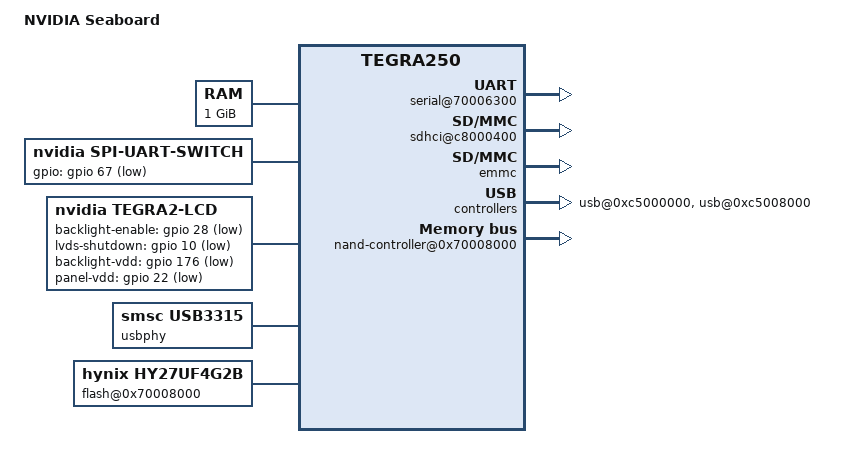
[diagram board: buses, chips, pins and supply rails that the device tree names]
/dts-v1/;

/memreserve/ 0x1c000000 0x04000000;
/include/ "tegra250.dtsi"
/include/ "chromeos.dtsi"
/include/ "flashmap-twostop-2mb.dtsi"

/ {
	model = "NVIDIA Seaboard";
	compatible = "nvidia,seaboard", "nvidia,tegra250";

	config {
		odmdata = <0x300d8011>;
		hwid = "ARM SEABOARD TEST 1176";
		machine-arch-id = <3005>;

		/* Chrome OS specific GPIO */
		/*
		 * Parameter 3 bits
		 * bit 0: 1=output, 0=input
		 * bit 1: 1=high, 0=low
		 * bit 2: 1=active low, 0=active high
		 */
		write-protect-switch	= <&gpio 59 0>;
		recovery-switch		= <&gpio 56 4>;
		developer-switch	= <&gpio 168 0>;
		/* Seaboard's lid-switch is ignored */
		power-switch		= <&gpio 170 4>;
	};

	aliases {
		console = "/serial@70006300";
                usb0 = "/usb@0xc5008000";
                usb1 = "/usb@0xc5000000";

		sdmmc0 = "/sdhci@c8000600";
		sdmmc1 = "/sdhci@c8000400";

		i2c0 = "/i2c@0x7000d000";
		i2c1 = "/i2c@0x7000c000";
		i2c2 = "/i2c@0x7000c400";
		i2c3 = "/i2c@0x7000c500";
	};

	memory {
		device_type = "memory";
		reg = <0x00000000 0x40000000>;
	};

	serial@70006300 {
		status = "ok";
		clock-frequency = <216000000>;
	};

	/*
	 * Seaboard has a switch on GPIO67 which affects this UART. Until
	 * pinmux support is added to the FDT it is not clear how to do this,
	 * so this is a stop-gap.
	 */
	switch {
		compatible = "nvidia,spi-uart-switch";
		uart = <&uart3>;

		/* Parameter 3 bit 0:1=output, 0=input; bit 1:1=high, 0=low */
		gpios = <&gpio 67 1>; /* Port I = 8 bit = 3: 8 * 8 + 3 */
	};

	sdhci@c8000400 {
		status = "ok";
		width = <4>;	/* width of SDIO port */
		removable = <1>;
		/* Parameter 3 bit 0:1=output, 0=input; bit 1:1=high, 0=low */
		cd-gpio = <&gpio 69 0>; /* card detect, gpio PI5 */
		wp-gpio = <&gpio 57 0>; /* write protect, gpio PH1 */
		power-gpio = <&gpio 70 3>; /* power enable, gpio PI6 */
	};

	emmc: sdhci@c8000600 {
		status = "ok";
		width = <4>;	/* width of SDIO port */
		removable = <0>;
	};

	lcd {
		compatible = "nvidia,tegra2-lcd";
		width = <1366>;
		height = <768>;
		bits_per_pixel = <16>;
		pwfm = <&pwfm2>;
		display = <&display1>;
                /* frame-buffer location = top of memory - carveout - fb */
                frame-buffer = <0x2f680000>;

		pixel_clock = <70600000>;

		/* Timing: ref_to_sync, sync_width. back_porch, front_porch */
		horiz_timing = <11 58 58 58>;
		vert_timing = <1 4 4 4>;

		/* Parameter 3 bit 0:1=output, 0=input; bit 1:1=high, 0=low */
		backlight-enable = <&gpio 28 1>;	/* PD4 */
		lvds-shutdown = <&gpio 10 1>;		/* PB2 */
		backlight-vdd = <&gpio 176 1>;		/* PW0 */
		panel-vdd = <&gpio 22 1>;		/* PC6 */

		/*
		 * Panel required timings
		 * Timing 1: delay between panel_vdd-rise and data-rise
		 * Timing 2: delay between data-rise and backlight_vdd-rise
		 * Timing 3: delay between backlight_vdd and pwm-rise
		 * Timing 4: delay between pwm-rise and backlight_en-rise
		 */
		panel-timings = <4 203 17 15>;
	};

	usb@0xc5000000 {
		status = "ok";
		host-mode = <1>;
	};

	usbphy: usbphy@0 {
		compatible = "smsc,usb3315";
		status = "ok";
	};

	usb@0xc5008000 {
		status = "ok";
		utmi = <&usbphy>;
		host-mode = <0>;
	};

	flash@0x70008000 {
		compatible = "hynix,HY27UF4G2B", "nand-flash";
		controller = <&nand>;

		/* How many bytes for data area */
		page-data-bytes = <2048>;

		/* How many ECC bytes to be generated for tag bytes */
		tag-ecc-bytes = <4>;

		/* How many tag bytes in spare area */
		tag-bytes = <20>;

		/* How many ECC bytes for data area */
		data-ecc-bytes = <36>;

		skipped-spare-bytes = <4>;

		/*
		 * How many bytes in spare area
		 * spare area = skipped bytes + ECC bytes of data area
		 * + tag bytes + ECC bytes of tag bytes
		 */
		page-spare-bytes = <64>;

		/*
		 * MAX_TRP_TREA:
		 * non-EDO mode: value (in ns) = Max(tRP, tREA) + 6ns
		 * EDO mode: value (in ns) = tRP timing
		 *
		 * Timing values: MAX_TRP_TREA, TWB, Max(tCS, tCH, tALS, tALH),
		 *	TWHR, Max(tCS, tCH, tALS, tALH), TWH, TWP, TRH, TADL
		 */
		timing = <26 100 20 80 20 10 12 10 70>;
	};

	nand-controller@0x70008000 {
		status = "ok";
		wp-gpio = <&gpio 59 3>;		/* PH3 */
		width = <8>;
	};
};
